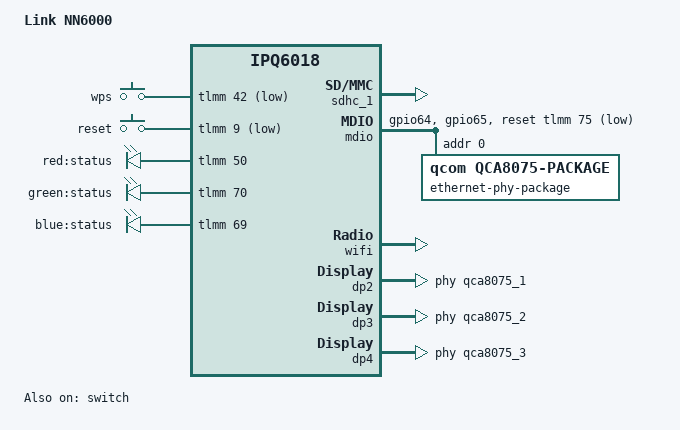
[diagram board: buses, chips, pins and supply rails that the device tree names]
// SPDX-License-Identifier: GPL-2.0-or-later OR MIT

/dts-v1/;

#include "ipq6018.dtsi"
#include "ipq6018-common.dtsi"
#include "ipq6018-ess.dtsi"
#include "ipq6018-nss.dtsi"
#include "ipq6000-fixed-smps.dtsi"

#include <dt-bindings/gpio/gpio.h>
#include <dt-bindings/input/input.h>
#include <dt-bindings/leds/common.h>

/ {
	model = "Link NN6000";
	compatible = "link,nn6000", "qcom,ipq6018";

	aliases {
		serial0 = &blsp1_uart3;

		led-boot = &led_status_blue;
		led-failsafe = &led_status_red;
		led-running = &led_status_green;
		led-upgrade = &led_status_red;

		ethernet1 = &dp2;
		ethernet2 = &dp3;
		ethernet3 = &dp4;
	};

	chosen {
		stdout-path = "serial0:115200n8";
	};

	keys {
		compatible = "gpio-keys";

		wps {
			label = "wps";
			linux,code = <KEY_WPS_BUTTON>;
			gpios = <&tlmm 42 GPIO_ACTIVE_LOW>;
		};

		reset {
			label = "reset";
			linux,code = <KEY_RESTART>;
			gpios = <&tlmm 9 GPIO_ACTIVE_LOW>;
		};
	};

	leds {
		compatible = "gpio-leds";

		led_status_red: red {
			label = "red:status";
			gpios = <&tlmm 50 GPIO_ACTIVE_HIGH>;
		};

		led_status_green: green {
			label = "green:status";
			gpios = <&tlmm 70 GPIO_ACTIVE_HIGH>;
		};

		led_status_blue: blue {
			label = "blue:status";
			gpios = <&tlmm 69 GPIO_ACTIVE_HIGH>;
		};
	};
};

&tlmm {
	gpio-reserved-ranges = <20 1>;

	mdio_pins: mdio-pins {
		mdc {
			pins = "gpio64";
			function = "mdc";
			drive-strength = <8>;
			bias-pull-up;
		};

		mdio {
			pins = "gpio65";
			function = "mdio";
			drive-strength = <8>;
			bias-pull-up;
		};
	};
};

&sdhc_1 {
	status = "okay";

	/delete-property/ mmc-hs400-1_8v;
	mmc-hs200-1_8v;
	mmc-ddr-1_8v;
};

&mdio {
	status = "okay";

	pinctrl-0 = <&mdio_pins>;
	pinctrl-names = "default";
	reset-gpios = <&tlmm 75 GPIO_ACTIVE_LOW>;

	ethernet-phy-package@0 {
		compatible = "qcom,qca8075-package";
		#address-cells = <1>;
		#size-cells = <0>;
		reg = <0>;

		qca8075_1: ethernet-phy@1 {
			compatible = "ethernet-phy-ieee802.3-c22";
			reg = <1>;
		};

		qca8075_2: ethernet-phy@2 {
			compatible = "ethernet-phy-ieee802.3-c22";
			reg = <2>;
		};

		qca8075_3: ethernet-phy@3 {
			compatible = "ethernet-phy-ieee802.3-c22";
			reg = <3>;
		};
	};
};

&switch {
	status = "okay";

	switch_lan_bmp = <(ESS_PORT2 | ESS_PORT3)>;
	switch_wan_bmp = <ESS_PORT4>;
	switch_mac_mode = <MAC_MODE_PSGMII>;

	qcom,port_phyinfo {
		port@2 {
			port_id = <2>;
			phy_address = <1>;
		};

		port@3 {
			port_id = <3>;
			phy_address = <2>;
		};

		port@4 {
			port_id = <4>;
			phy_address = <3>;
		};
	};
};

&wifi {
	status = "okay";
	qcom,ath11k-fw-memory-mode = <1>;
	qcom,ath11k-calibration-variant = "Link-NN6000";
};

&dp2 {
	status = "okay";
	phy-handle = <&qca8075_1>;
	label = "wan";
};

&dp3 {
	status = "okay";
	phy-handle = <&qca8075_2>;
	label = "lan1";
};

&dp4 {
	status = "okay";
	phy-handle = <&qca8075_3>;
	label = "lan2";
};

&edma {
	status = "okay";
};
